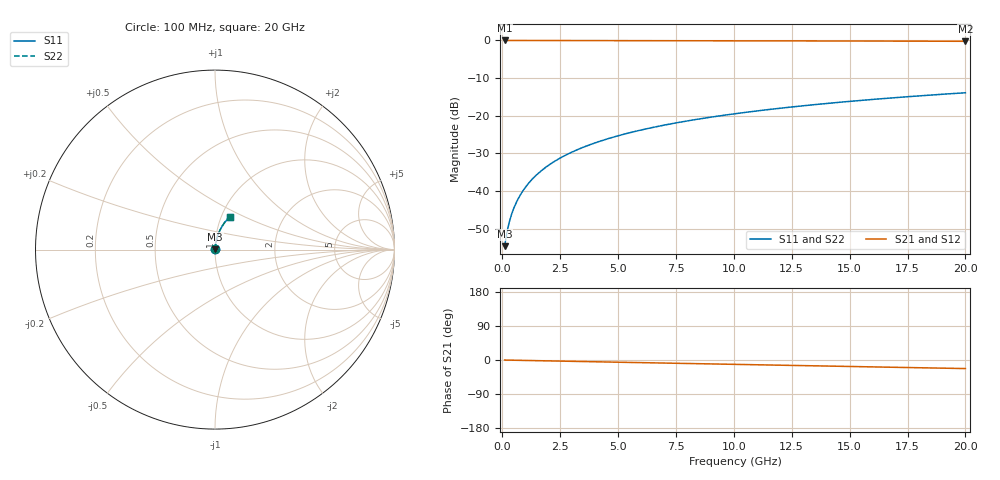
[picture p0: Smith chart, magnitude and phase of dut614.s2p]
! Touchstone file exported from HFSS 2026.1.0
!  File:  C:/ffzhzh/LocalFiles/Ansys_Project_Files/temp_train_TMRDL_614_1783008843_55676.aedt
!  Generated:  12:15:32 AM Jul  3, 2026
!  Design:  TMRDL
!  Project:  temp_train_TMRDL_614_1783008843_55676
! Variables:
!  h_bsmrdl = 2um
!  h_ox = 20um
!  h_rdl = 5um
!  h_sub = 80um
!  h_tmrdl = 3.56um
!  h_tsv = 80um
!  h_via = 3um
!  l_bsmrdl = 300um
!  l_sub = 707.95um
!  l_tmrdl = 307.95um
!  m_sub = 200um
!  pitch = 49.79um
!  r_tsv = 6um
!  s_tmrdl = 10um
!  w_bsmrdl = 18um
!  w_sub = 500um
!  w_tmrdl = 26.59um
!  x_tsv_center1 = 321.245um
!  x_tsv_center2 = 639.245um
!  x_tsv_center3 = 973.785um
!  x_tsv_center4 = 1291.785um
!  x_tsv_center5 = 1626.325um
!  x_tsv_center6 = 1944.325um
# GHz S MA R 50.000000
! Terminal data exported
! Port[1] = TM_RDL1_1_T1
! Port[2] = TM_RDL1_1_T2
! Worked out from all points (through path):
!   200 points, 100 MHz to 20 GHz, reference 50 ohm
!   highest |S21| = -0.01 dB at 100 MHz (marker M1); lowest = -0.2 dB at 20 GHz (marker M2)
!   group delay of S21, straight-line fit = 3.14 ps
!   lowest |S11| = -54.6 dB at 100 MHz (marker M3), VSWR 1.00, Z = 50.1 + j0.123 ohm
!   |S11| at or under -10 dB: start of sweep to end of sweep
!   |S22| runs from -54.6 to -13.9 dB; largest |S21 - S12| = 3.1e-15
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0.1  0.001861 41.2  0.9986 -0.1  0.9986 -0.1  0.001861 41.2
! Gamma 0 0 0 0
! Port Impedance 50 0 50 0
0.2  0.002828 58.1  0.9985 -0.2  0.9985 -0.2  0.002828 58.1
0.3  0.003868 65.6  0.9984 -0.4  0.9984 -0.4  0.003868 65.6
0.4  0.004913 69.9  0.9983 -0.5  0.9983 -0.5  0.004913 69.9
0.5  0.00596 72.8  0.9983 -0.6  0.9983 -0.6  0.00596 72.8
0.6  0.007011 74.9  0.9982 -0.7  0.9982 -0.7  0.007011 74.9
0.8  0.00913 77.7  0.9982 -0.9  0.9982 -0.9  0.00913 77.7
1.1  0.01234 80.0  0.9981 -1.3  0.9981 -1.3  0.01234 80.0
1.3  0.01449 81.0  0.998 -1.5  0.998 -1.5  0.01449 81.0
1.6  0.01774 81.8  0.9979 -1.9  0.9979 -1.9  0.01774 81.8
2.1  0.02315 82.5  0.9977 -2.5  0.9977 -2.5  0.02315 82.5
2.7  0.02964 82.6  0.9974 -3.2  0.9974 -3.2  0.02964 82.6
3.5  0.03826 82.3  0.9969 -4.1  0.9969 -4.1  0.03826 82.3
4.2  0.04576 81.9  0.9964 -4.9  0.9964 -4.9  0.04576 81.9
5  0.05427 81.2  0.9957 -5.8  0.9957 -5.8  0.05427 81.2
5.9  0.06376 80.3  0.9948 -6.9  0.9948 -6.9  0.06376 80.3
6.8  0.07316 79.4  0.9939 -7.9  0.9939 -7.9  0.07316 79.4
8.3  0.08865 77.9  0.9922 -9.6  0.9922 -9.6  0.08865 77.9
10.1  0.107 76.0  0.9899 -11.6  0.9899 -11.6  0.107 76.0
13.4  0.1397 72.6  0.9851 -15.3  0.9851 -15.3  0.1397 72.6
16.7  0.1715 69.1  0.9795 -19.0  0.9795 -19.0  0.1715 69.1
20  0.202 65.6  0.9732 -22.6  0.9732 -22.6  0.202 65.6
